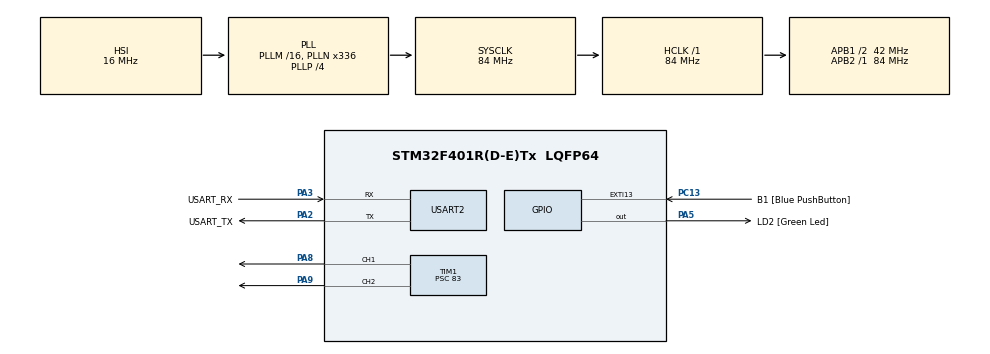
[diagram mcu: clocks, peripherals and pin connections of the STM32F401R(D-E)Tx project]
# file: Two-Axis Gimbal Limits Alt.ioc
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Mcu.Family=STM32F4
Mcu.Name=STM32F401R(D-E)Tx
Mcu.Package=LQFP64
NVIC.PriorityGroup=NVIC_PRIORITYGROUP_0
NVIC.TIM2_IRQn=true\:0\:0\:false\:false\:true\:true\:true\:true
PA13.GPIO_Label=TMS
PA13.Mode=Serial_Wire
PA13.Signal=SYS_JTMS-SWDIO
PA14.GPIO_Label=TCK
PA14.Mode=Serial_Wire
PA14.Signal=SYS_JTCK-SWCLK
PA2.GPIO_Label=USART_TX
PA2.GPIO_Mode=GPIO_MODE_AF_PP
PA2.GPIO_PuPd=GPIO_NOPULL
PA2.GPIO_Speed=GPIO_SPEED_FREQ_LOW
PA2.Mode=Asynchronous
PA2.Signal=USART2_TX
PA3.GPIO_Label=USART_RX
PA3.GPIO_Mode=GPIO_MODE_AF_PP
PA3.GPIO_PuPd=GPIO_NOPULL
PA3.GPIO_Speed=GPIO_SPEED_FREQ_LOW
PA3.Mode=Asynchronous
PA3.Signal=USART2_RX
PA5.GPIO_Label=LD2 [Green Led]
PA5.GPIO_Mode=GPIO_MODE_OUTPUT_PP
PA5.GPIO_PuPd=GPIO_NOPULL
PA5.GPIO_Speed=GPIO_SPEED_FREQ_LOW
PA5.Signal=GPIO_Output
PA8.Signal=S_TIM1_CH1
PA9.Signal=S_TIM1_CH2
PB3.GPIO_Label=SWO
PB3.Signal=SYS_JTDO-SWO
PC13-ANTI_TAMP.GPIO_Label=B1 [Blue PushButton]
PC13-ANTI_TAMP.GPIO_ModeDefaultEXTI=GPIO_MODE_IT_FALLING
PC13-ANTI_TAMP.GPIO_PuPd=GPIO_NOPULL
PC13-ANTI_TAMP.Signal=GPXTI13
PC14-OSC32_IN.Mode=LSE-External-Oscillator
PC14-OSC32_IN.Signal=RCC_OSC32_IN
PC15-OSC32_OUT.Mode=LSE-External-Oscillator
PC15-OSC32_OUT.Signal=RCC_OSC32_OUT
PH0\ -\ OSC_IN.Mode=HSE-External-Clock-Source
PH0\ -\ OSC_IN.Signal=RCC_OSC_IN
PH1\ -\ OSC_OUT.Mode=HSE-External-Clock-Source
PH1\ -\ OSC_OUT.Signal=RCC_OSC_OUT
ProjectManager.HeapSize=0x200
ProjectManager.StackSize=0x400
ProjectManager.TargetToolchain=STM32CubeIDE
RCC.48MHZClocksFreq_Value=48000000
RCC.AHBFreq_Value=84000000
RCC.APB1CLKDivider=RCC_HCLK_DIV2
RCC.APB1Freq_Value=42000000
RCC.APB1TimFreq_Value=84000000
RCC.APB2Freq_Value=84000000
RCC.APB2TimFreq_Value=84000000
RCC.CortexFreq_Value=84000000
RCC.HCLKFreq_Value=84000000
RCC.HSE_VALUE=8000000
RCC.HSI_VALUE=16000000
RCC.PLLN=336
RCC.PLLP=RCC_PLLP_DIV4
RCC.PLLQ=7
RCC.SYSCLKFreq_VALUE=84000000
RCC.SYSCLKSource=RCC_SYSCLKSOURCE_PLLCLK
RCC.VCOOutputFreq_Value=336000000
SH.S_TIM1_CH1.0=TIM1_CH1,PWM Generation1 CH1
SH.S_TIM1_CH2.0=TIM1_CH2,PWM Generation2 CH2
TIM1.Channel-PWM\ Generation1\ CH1=TIM_CHANNEL_1
TIM1.Channel-PWM\ Generation2\ CH2=TIM_CHANNEL_2
TIM1.Period=19999
TIM1.Prescaler=83
TIM2.Period=9999
TIM2.Prescaler=8399
USART2.VirtualMode=VM_ASYNC
VP_TIM1_VS_ClockSourceINT.Mode=Internal
VP_TIM2_VS_ClockSourceINT.Mode=Internal
board=NUCLEO-F401RE

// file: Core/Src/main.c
/* USER CODE BEGIN Header */
/**
  ******************************************************************************
  * @file           : main.c
  * @brief          : Main program body
  ******************************************************************************
  * @attention
  *
  * Copyright (c) 2025 STMicroelectronics.
  * All rights reserved.
  *
  * This software is licensed under terms that can be found in the LICENSE file
  * in the root directory of this software component.
  * If no LICENSE file comes with this software, it is provided AS-IS.
  *
  ******************************************************************************
  */
/* USER CODE END Header */
#include "main.h"

/* USER CODE BEGIN Includes */
#include "math.h"
#include <stdbool.h>

/* USER CODE END Includes */

/* USER CODE BEGIN PD */
#define TIM1_ARR 			19999

#define SERVO_DUTY_MIN 		650.0
#define SERVO_DUTY_BW		1700.0
#define SERVO_ANGLE_MAX		180

#define SERVO1_START 		90
#define SERVO1_END			165
#define SERVO1_MAX_SPEED	5

#define SERVO2_START		90
#define SERVO2_END			165
#define SERVO2_SPEED		1

/* USER CODE END PD */

TIM_HandleTypeDef htim1;
TIM_HandleTypeDef htim2;

UART_HandleTypeDef huart2;

/* USER CODE BEGIN PV */
bool servoFlag = false;

/* USER CODE END PV */

void SystemClock_Config(void);
static void MX_GPIO_Init(void);
static void MX_USART2_UART_Init(void);
static void MX_TIM1_Init(void);
static void MX_TIM2_Init(void);
/* USER CODE BEGIN PFP */
void SetServoAngle (uint32_t channel, uint8_t angle);

/* USER CODE END PFP */

int main(void)
{

  /* MCU Configuration--------------------------------------------------------*/

  /* Reset of all peripherals, Initializes the Flash interface and the Systick. */
  HAL_Init();

  /* USER CODE BEGIN Init */
  uint8_t servoAng1 = SERVO1_START;
  uint8_t servoDir1 = 1;
  uint8_t servoSpeed1 = 0;
  uint8_t servoAng2 = SERVO2_START;
  uint8_t servoDir2 = 1;

  /* USER CODE END Init */

  /* Configure the system clock */
  SystemClock_Config();

  /* Initialize all configured peripherals */
  MX_GPIO_Init();
  MX_USART2_UART_Init();
  MX_TIM1_Init();
  MX_TIM2_Init();
  /* USER CODE BEGIN 2 */
  HAL_TIM_PWM_Start(&htim1, TIM_CHANNEL_1);
  HAL_TIM_PWM_Start(&htim1, TIM_CHANNEL_2);
  SetServoAngle(TIM_CHANNEL_1, SERVO1_START);
  SetServoAngle(TIM_CHANNEL_2, SERVO2_START);
  HAL_Delay(3000);
  HAL_TIM_Base_Start_IT(&htim2);
  /* USER CODE END 2 */

  /* Infinite loop */
  /* USER CODE BEGIN WHILE */
  while (1)
  {
	  // Update servo positions when timer interrupt flag raised
	  HAL_Delay(500);
	  servoFlag = 0;
	  servoAng1 += 3;
	  servoAng2 += 3;
	  SetServoAngle(TIM_CHANNEL_1, servoAng1);
//	  SetServoAngle(TIM_CHANNEL_2, servoAng2);

    /* USER CODE END WHILE */

  }
}

void SystemClock_Config(void)
{
  RCC_OscInitTypeDef RCC_OscInitStruct = {0};
  RCC_ClkInitTypeDef RCC_ClkInitStruct = {0};

  /** Configure the main internal regulator output voltage
  */
  __HAL_RCC_PWR_CLK_ENABLE();
  __HAL_PWR_VOLTAGESCALING_CONFIG(PWR_REGULATOR_VOLTAGE_SCALE2);

  /** Initializes the RCC Oscillators according to the specified parameters
  * in the RCC_OscInitTypeDef structure.
  */
  RCC_OscInitStruct.OscillatorType = RCC_OSCILLATORTYPE_HSI;
  RCC_OscInitStruct.HSIState = RCC_HSI_ON;
  RCC_OscInitStruct.HSICalibrationValue = RCC_HSICALIBRATION_DEFAULT;
  RCC_OscInitStruct.PLL.PLLState = RCC_PLL_ON;
  RCC_OscInitStruct.PLL.PLLSource = RCC_PLLSOURCE_HSI;
  RCC_OscInitStruct.PLL.PLLM = 16;
  RCC_OscInitStruct.PLL.PLLN = 336;
  RCC_OscInitStruct.PLL.PLLP = RCC_PLLP_DIV4;
  RCC_OscInitStruct.PLL.PLLQ = 7;
  if (HAL_RCC_OscConfig(&RCC_OscInitStruct) != HAL_OK)
  {
    Error_Handler();
  }

  /** Initializes the CPU, AHB and APB buses clocks
  */
  RCC_ClkInitStruct.ClockType = RCC_CLOCKTYPE_HCLK|RCC_CLOCKTYPE_SYSCLK
                              |RCC_CLOCKTYPE_PCLK1|RCC_CLOCKTYPE_PCLK2;
  RCC_ClkInitStruct.SYSCLKSource = RCC_SYSCLKSOURCE_PLLCLK;
  RCC_ClkInitStruct.AHBCLKDivider = RCC_SYSCLK_DIV1;
  RCC_ClkInitStruct.APB1CLKDivider = RCC_HCLK_DIV2;
  RCC_ClkInitStruct.APB2CLKDivider = RCC_HCLK_DIV1;

  if (HAL_RCC_ClockConfig(&RCC_ClkInitStruct, FLASH_LATENCY_2) != HAL_OK)
  {
    Error_Handler();
  }
}

static void MX_TIM1_Init(void)
{

  TIM_ClockConfigTypeDef sClockSourceConfig = {0};
  TIM_MasterConfigTypeDef sMasterConfig = {0};
  TIM_OC_InitTypeDef sConfigOC = {0};
  TIM_BreakDeadTimeConfigTypeDef sBreakDeadTimeConfig = {0};

  htim1.Instance = TIM1;
  htim1.Init.Prescaler = 83;
  htim1.Init.CounterMode = TIM_COUNTERMODE_UP;
  htim1.Init.Period = 19999;
  htim1.Init.ClockDivision = TIM_CLOCKDIVISION_DIV1;
  htim1.Init.RepetitionCounter = 0;
  htim1.Init.AutoReloadPreload = TIM_AUTORELOAD_PRELOAD_DISABLE;
  if (HAL_TIM_Base_Init(&htim1) != HAL_OK)
  {
    Error_Handler();
  }
  sClockSourceConfig.ClockSource = TIM_CLOCKSOURCE_INTERNAL;
  if (HAL_TIM_ConfigClockSource(&htim1, &sClockSourceConfig) != HAL_OK)
  {
    Error_Handler();
  }
  if (HAL_TIM_PWM_Init(&htim1) != HAL_OK)
  {
    Error_Handler();
  }
  sMasterConfig.MasterOutputTrigger = TIM_TRGO_RESET;
  sMasterConfig.MasterSlaveMode = TIM_MASTERSLAVEMODE_DISABLE;
  if (HAL_TIMEx_MasterConfigSynchronization(&htim1, &sMasterConfig) != HAL_OK)
  {
    Error_Handler();
  }
  sConfigOC.OCMode = TIM_OCMODE_PWM1;
  sConfigOC.Pulse = 0;
  sConfigOC.OCPolarity = TIM_OCPOLARITY_HIGH;
  sConfigOC.OCNPolarity = TIM_OCNPOLARITY_HIGH;
  sConfigOC.OCFastMode = TIM_OCFAST_DISABLE;
  sConfigOC.OCIdleState = TIM_OCIDLESTATE_RESET;
  sConfigOC.OCNIdleState = TIM_OCNIDLESTATE_RESET;
  if (HAL_TIM_PWM_ConfigChannel(&htim1, &sConfigOC, TIM_CHANNEL_1) != HAL_OK)
  {
    Error_Handler();
  }
  if (HAL_TIM_PWM_ConfigChannel(&htim1, &sConfigOC, TIM_CHANNEL_2) != HAL_OK)
  {
    Error_Handler();
  }
  sBreakDeadTimeConfig.OffStateRunMode = TIM_OSSR_DISABLE;
  sBreakDeadTimeConfig.OffStateIDLEMode = TIM_OSSI_DISABLE;
  sBreakDeadTimeConfig.LockLevel = TIM_LOCKLEVEL_OFF;
  sBreakDeadTimeConfig.DeadTime = 0;
  sBreakDeadTimeConfig.BreakState = TIM_BREAK_DISABLE;
  sBreakDeadTimeConfig.BreakPolarity = TIM_BREAKPOLARITY_HIGH;
  sBreakDeadTimeConfig.AutomaticOutput = TIM_AUTOMATICOUTPUT_DISABLE;
  if (HAL_TIMEx_ConfigBreakDeadTime(&htim1, &sBreakDeadTimeConfig) != HAL_OK)
  {
    Error_Handler();
  }
  HAL_TIM_MspPostInit(&htim1);

}

static void MX_TIM2_Init(void)
{

  TIM_ClockConfigTypeDef sClockSourceConfig = {0};
  TIM_MasterConfigTypeDef sMasterConfig = {0};

  htim2.Instance = TIM2;
  htim2.Init.Prescaler = 8399;
  htim2.Init.CounterMode = TIM_COUNTERMODE_UP;
  htim2.Init.Period = 9999;
  htim2.Init.ClockDivision = TIM_CLOCKDIVISION_DIV1;
  htim2.Init.AutoReloadPreload = TIM_AUTORELOAD_PRELOAD_DISABLE;
  if (HAL_TIM_Base_Init(&htim2) != HAL_OK)
  {
    Error_Handler();
  }
  sClockSourceConfig.ClockSource = TIM_CLOCKSOURCE_INTERNAL;
  if (HAL_TIM_ConfigClockSource(&htim2, &sClockSourceConfig) != HAL_OK)
  {
    Error_Handler();
  }
  sMasterConfig.MasterOutputTrigger = TIM_TRGO_RESET;
  sMasterConfig.MasterSlaveMode = TIM_MASTERSLAVEMODE_DISABLE;
  if (HAL_TIMEx_MasterConfigSynchronization(&htim2, &sMasterConfig) != HAL_OK)
  {
    Error_Handler();
  }

}

static void MX_USART2_UART_Init(void)
{

  huart2.Instance = USART2;
  huart2.Init.BaudRate = 115200;
  huart2.Init.WordLength = UART_WORDLENGTH_8B;
  huart2.Init.StopBits = UART_STOPBITS_1;
  huart2.Init.Parity = UART_PARITY_NONE;
  huart2.Init.Mode = UART_MODE_TX_RX;
  huart2.Init.HwFlowCtl = UART_HWCONTROL_NONE;
  huart2.Init.OverSampling = UART_OVERSAMPLING_16;
  if (HAL_UART_Init(&huart2) != HAL_OK)
  {
    Error_Handler();
  }

}

static void MX_GPIO_Init(void)
{
  GPIO_InitTypeDef GPIO_InitStruct = {0};

  /* GPIO Ports Clock Enable */
  __HAL_RCC_GPIOC_CLK_ENABLE();
  __HAL_RCC_GPIOH_CLK_ENABLE();
  __HAL_RCC_GPIOA_CLK_ENABLE();
  __HAL_RCC_GPIOB_CLK_ENABLE();

  /*Configure GPIO pin Output Level */
  HAL_GPIO_WritePin(LD2_GPIO_Port, LD2_Pin, GPIO_PIN_RESET);

  /*Configure GPIO pin : B1_Pin */
  GPIO_InitStruct.Pin = B1_Pin;
  GPIO_InitStruct.Mode = GPIO_MODE_IT_FALLING;
  GPIO_InitStruct.Pull = GPIO_NOPULL;
  HAL_GPIO_Init(B1_GPIO_Port, &GPIO_InitStruct);

  /*Configure GPIO pin : LD2_Pin */
  GPIO_InitStruct.Pin = LD2_Pin;
  GPIO_InitStruct.Mode = GPIO_MODE_OUTPUT_PP;
  GPIO_InitStruct.Pull = GPIO_NOPULL;
  GPIO_InitStruct.Speed = GPIO_SPEED_FREQ_LOW;
  HAL_GPIO_Init(LD2_GPIO_Port, &GPIO_InitStruct);

}

/* USER CODE BEGIN 4 */
void SetServoAngle (uint32_t channel, uint8_t angle) {
	if (angle >= SERVO_ANGLE_MAX) angle = SERVO_ANGLE_MAX;
	uint16_t dutyCycle = ((double)angle / 180.0)*SERVO_DUTY_BW + SERVO_DUTY_MIN;

	switch(channel) {
		case TIM_CHANNEL_1:
			__HAL_TIM_SET_COMPARE(&htim1, TIM_CHANNEL_1, dutyCycle);
			break;
		case TIM_CHANNEL_2:
			__HAL_TIM_SET_COMPARE(&htim1, TIM_CHANNEL_2, dutyCycle);
			break;
		default:
			break;
	}
}

void TIM2_IRQHandler(void) {
  servoFlag = 1;
  HAL_TIM_IRQHandler(&htim2);
}

/* USER CODE END 4 */

void Error_Handler(void)
{
  __disable_irq();
  while (1)
  {
  }
}
